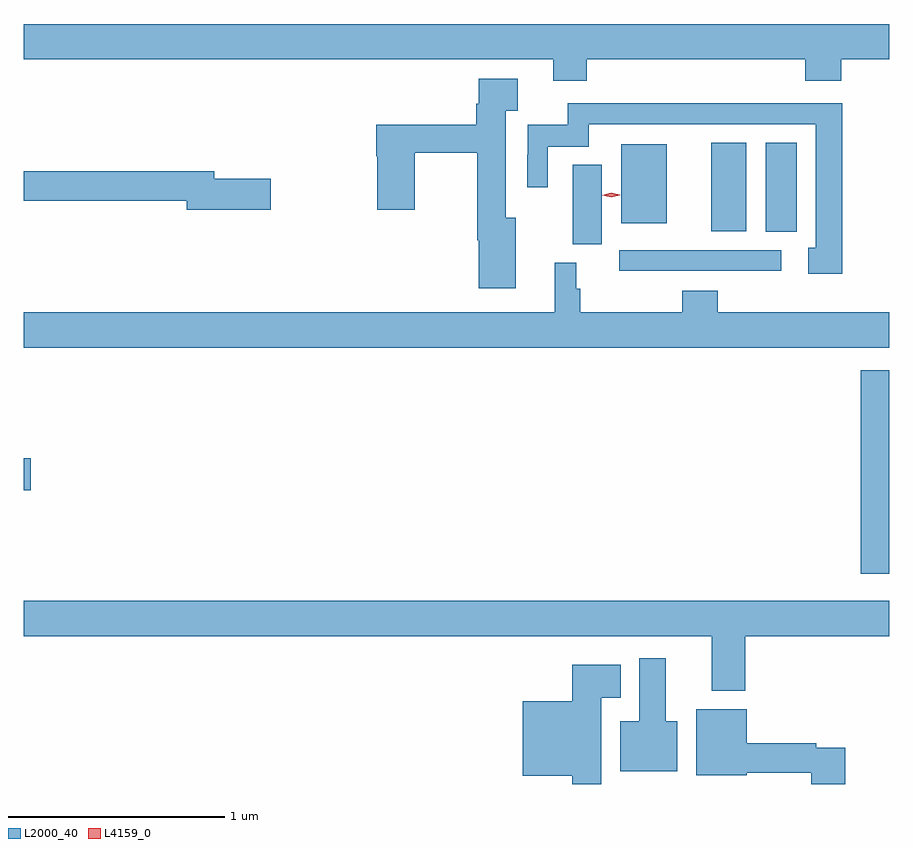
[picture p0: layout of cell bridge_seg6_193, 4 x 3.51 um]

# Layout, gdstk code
import gdstk
lib = gdstk.Library(unit=1e-6, precision=1e-09)
def R(c, l, rs):  # rectangles x0, y0, x1, y1
    for r in rs: c.add(gdstk.rectangle(r[:2], r[2:], *l))
def P(c, l, *ps):  # polygons
    for p in ps: c.add(gdstk.Polygon(p, *l))
L2000_40 = (2000, 40)
L4159_0 = (4159, 0)

bridge_seg6_193 = lib.new_cell('bridge_seg6_193')
R(bridge_seg6_193, L2000_40, [(364.706,968.937,364.839,969.877), (360.839,969.323,360.871,969.47), (363.591,970.335,364.339,970.431), (363.377,970.459,363.511,970.825), (364.268,970.516,364.411,970.928), (364.016,970.518,364.177,970.928), (363.599,970.556,363.811,970.921)])
P(bridge_seg6_193, L2000_40, [(363.44,971.312),(364.451,971.312),(364.451,971.213),(364.616,971.213),(364.616,971.312),(364.839,971.312),(364.839,971.476),(360.839,971.476),(360.839,971.312),(363.287,971.312),(363.287,971.213),(363.44,971.213)],
  [(363.112,970.582),(363.067,970.582),(363.067,971.076),(363.121,971.076),(363.121,971.224),(362.942,971.224),(362.942,971.108),(362.93,971.108),(362.93,971.011),(362.468,971.011),(362.468,970.865),(362.473,970.865),(362.473,970.617),(362.646,970.617),(362.646,970.882),(362.935,970.882),(362.935,970.478),(362.942,970.478),(362.942,970.256),(363.112,970.256)],
  [(364.621,971.109),(364.367,971.109),(364.367,971.111),(363.352,971.111),(363.352,971.01),(363.168,971.01),(363.168,970.872),(363.165,970.872),(363.165,970.722),(363.261,970.722),(363.261,970.91),(363.451,970.91),(363.451,971.013),(364.499,971.013),(364.499,970.443),(364.463,970.443),(364.463,970.323),(364.621,970.323)],
  [(361.981,970.76),(361.72,970.76),(361.72,970.796),(360.839,970.796),(360.839,970.66),(361.592,970.66),(361.592,970.618),(361.981,970.618)],
  [(364.839,970.144),(364.046,970.144),(364.046,970.243),(363.881,970.243),(363.881,970.144),(363.41,970.144),(363.41,970.253),(363.392,970.253),(363.392,970.374),(363.293,970.374),(363.293,970.144),(360.839,970.144),(360.839,969.98),(364.839,969.98)],
  [(364.172,968.648),(364.839,968.648),(364.839,968.812),(360.839,968.812),(360.839,968.648),(364.019,968.648),(364.019,968.396),(364.172,968.396)],
  [(363.859,968.254),(363.805,968.254),(363.805,968.545),(363.683,968.545),(363.683,968.254),(363.596,968.254),(363.596,968.024),(363.859,968.024)],
  [(363.508,968.363),(363.598,968.363),(363.598,968.515),(363.374,968.515),(363.374,968.347),(363.146,968.347),(363.146,968.003),(363.374,968.003),(363.374,967.965),(363.508,967.965)],
  [(364.636,968.133),(364.502,968.133),(364.502,968.153),(364.18,968.153),(364.18,968.311),(363.947,968.311),(363.947,968.006),(364.18,968.006),(364.18,968.017),(364.478,968.017),(364.478,967.965),(364.636,967.965)])
P(bridge_seg6_193, L4159_0, [(363.554,970.676),(363.513,970.685),(363.513,970.685),(363.513,970.685),(363.554,970.696),(363.594,970.687),(363.594,970.686),(363.594,970.686)])

lib.write_gds('bridge_seg6_193.gds')
